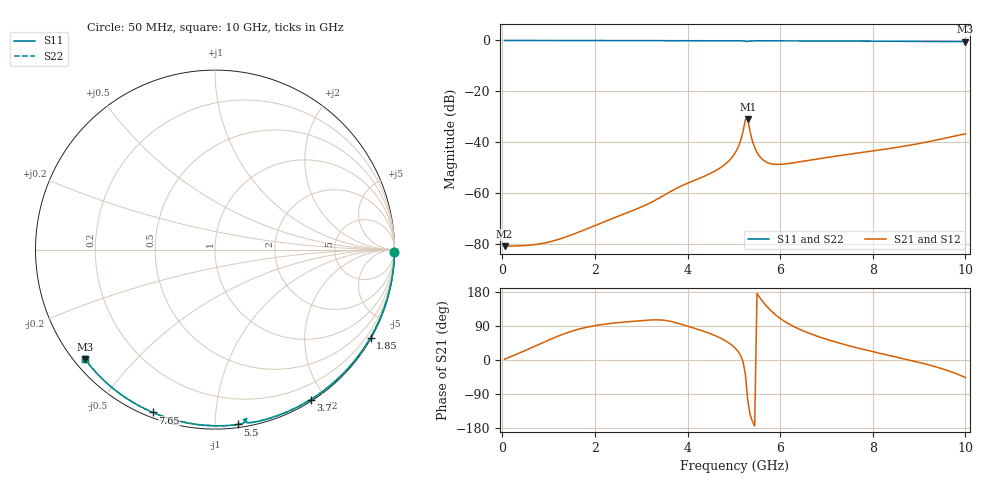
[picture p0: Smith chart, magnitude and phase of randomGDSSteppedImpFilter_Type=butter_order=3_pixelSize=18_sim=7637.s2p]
! freq	dB(S11)	phase(S11)	dB(S12)	phase(S12)
!  dB(S21)	phase(S21)	dB(S22)	phase(S22)
!S-par simulation data
#  GHz  S  DB  R 50
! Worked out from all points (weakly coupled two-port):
!   200 points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, 50 MHz to 10 GHz, reference 50 ohm
!   highest |S21| = -30.97 dB at 5.3 GHz (marker M1); lowest = -81.0 dB at 50 MHz (marker M2)
!   lowest |S11| = -0.5 dB at 10 GHz (marker M3), VSWR 36.86, Z = 1.54 - j18.3 ohm
!   |S11| at or under -10 dB: nowhere
!   |S22| runs from -0.5 to 0.0 dB; largest |S21 - S12| = 0
!   S11 on the Smith chart (normalised r, x): 50 MHz: open; 1.85 GHz: 0.03, -3.80; 3.7 GHz: 0.02, -1.82; 5.5 GHz: 0.02, -1.14; 7.65 GHz: 0.02, -0.69; 10 GHz: 0.03, -0.37
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0.05  -0.00 -0.8  -81.00 1.9  -81.00 1.9  -0.00 -0.8
0.85  -0.01 -13.7  -79.96 44.3  -79.96 44.3  -0.01 -13.7
1.75  -0.04 -27.9  -74.74 84.4  -74.74 84.4  -0.04 -27.9
1.85  -0.04 -29.5  -74.00 87.2  -74.00 87.2  -0.04 -29.5
3.4  -0.07 -53.1  -61.91 105.8  -61.91 105.8  -0.07 -53.1
3.7  -0.08 -57.5  -58.78 100.1  -58.78 100.1  -0.08 -57.5
4.65  -0.10 -71.3  -50.80 61.4  -50.80 61.4  -0.10 -71.3
4.9  -0.11 -74.8  -47.28 44.3  -47.28 44.3  -0.11 -74.9
5.05  -0.12 -77.1  -43.60 28.5  -43.60 28.5  -0.12 -77.1
5.15  -0.15 -78.7  -39.28 11.1  -39.28 11.1  -0.15 -78.7
5.2  -0.19 -79.7  -35.81 -4.7  -35.81 -4.7  -0.19 -79.7
5.25  -0.34 -80.5  -31.15 -39.4  -31.15 -39.4  -0.34 -80.5
5.3  -0.38 -79.4  -30.97 -106.1  -30.97 -106.1  -0.38 -79.4
5.35  -0.22 -80.0  -35.84 -143.7  -35.84 -143.7  -0.22 -80.0
5.4  -0.17 -80.9  -39.55 -161.7  -39.55 -161.7  -0.17 -80.9
5.5  -0.15 -82.5  -44.07 175.7  -44.07 175.7  -0.15 -82.5
5.65  -0.15 -84.7  -47.31 150.3  -47.31 150.3  -0.15 -84.7
5.85  -0.15 -87.4  -48.69 124.5  -48.69 124.5  -0.15 -87.5
6.7  -0.19 -98.7  -46.96 67.2  -46.96 67.2  -0.19 -98.8
7.65  -0.26 -110.9  -44.41 32.5  -44.41 32.5  -0.26 -110.9
8.35  -0.31 -119.7  -42.59 12.3  -42.59 12.3  -0.31 -119.7
10  -0.47 -139.8  -36.76 -46.4  -36.76 -46.4  -0.47 -139.8
